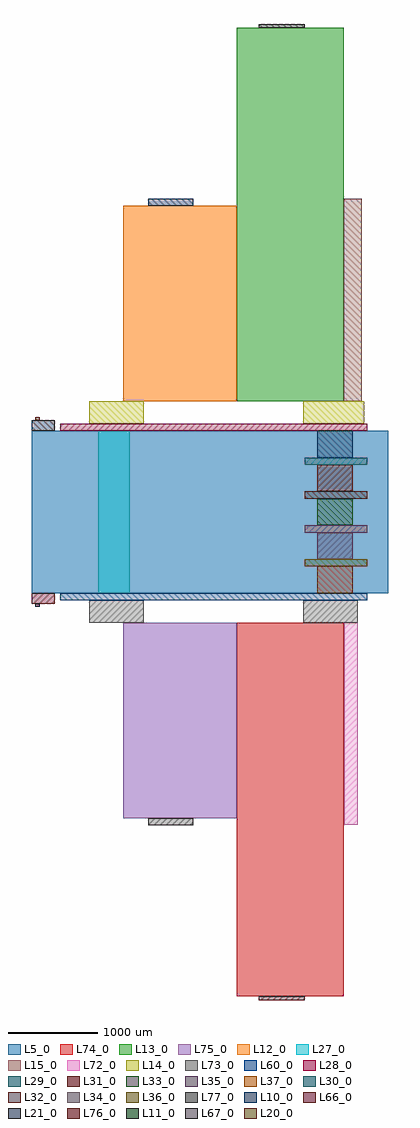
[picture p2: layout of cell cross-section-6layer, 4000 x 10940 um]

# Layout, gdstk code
import gdstk
lib = gdstk.Library(unit=1e-6, precision=1e-09)
def R(c, l, rs):  # rectangles x0, y0, x1, y1
    for r in rs: c.add(gdstk.rectangle(r[:2], r[2:], *l))
L5_0 = (5, 0)
L10_0 = (10, 0)
L11_0 = (11, 0)
L12_0 = (12, 0)
L13_0 = (13, 0)
L14_0 = (14, 0)
L15_0 = (15, 0)
L20_0 = (20, 0)
L21_0 = (21, 0)
L27_0 = (27, 0)
L28_0 = (28, 0)
L29_0 = (29, 0)
L30_0 = (30, 0)
L31_0 = (31, 0)
L32_0 = (32, 0)
L33_0 = (33, 0)
L34_0 = (34, 0)
L35_0 = (35, 0)
L36_0 = (36, 0)
L37_0 = (37, 0)
L60_0 = (60, 0)
L66_0 = (66, 0)
L67_0 = (67, 0)
L72_0 = (72, 0)
L73_0 = (73, 0)
L74_0 = (74, 0)
L75_0 = (75, 0)
L76_0 = (76, 0)
L77_0 = (77, 0)

cross_section_6layer = lib.new_cell('cross-section-6layer')
R(cross_section_6layer, L5_0, [(0,-1820,4000,0)])
R(cross_section_6layer, L10_0, [(1308,2520,1810,2600)])
R(cross_section_6layer, L11_0, [(2548.3,4520,3060,4560)])
R(cross_section_6layer, L12_0, [(1030.25,330,2300,2520)])
R(cross_section_6layer, L13_0, [(2300,330,3500,4520)])
R(cross_section_6layer, L14_0, [(647.1,80,1257.1,330), (3047.1,80,3727.1,330)])
R(cross_section_6layer, L15_0, [(3500,330,3700,2600)])
R(cross_section_6layer, L20_0, [(40,120,90,150)])
R(cross_section_6layer, L21_0, [(0,0,260,120)])
R(cross_section_6layer, L27_0, [(750,-1820,1100,0)])
R(cross_section_6layer, L28_0, [(320,0,3760,80)])
R(cross_section_6layer, L29_0, [(3200,-300,3600,0)])
R(cross_section_6layer, L30_0, [(3060,-380,3760,-300)])
R(cross_section_6layer, L31_0, [(3200,-680,3600,-380)])
R(cross_section_6layer, L32_0, [(3060,-760,3760,-680)])
R(cross_section_6layer, L33_0, [(3200,-1060,3600,-760)])
R(cross_section_6layer, L34_0, [(3060,-1140,3760,-1060)])
R(cross_section_6layer, L35_0, [(3200,-1440,3600,-1140)])
R(cross_section_6layer, L36_0, [(3060,-1520,3760,-1440)])
R(cross_section_6layer, L37_0, [(3200,-1820,3600,-1520)])
R(cross_section_6layer, L60_0, [(320,-1900,3760,-1820)])
R(cross_section_6layer, L66_0, [(0,-1940,260,-1820)])
R(cross_section_6layer, L67_0, [(40,-1970,90,-1940)])
R(cross_section_6layer, L72_0, [(3507.1,-4416.2,3657.1,-2150)])
R(cross_section_6layer, L73_0, [(647.1,-2150,1257.1,-1900), (3047.1,-2150,3657.1,-1900)])
R(cross_section_6layer, L74_0, [(2300,-6340,3500,-2150)])
R(cross_section_6layer, L75_0, [(1030.25,-4340,2300,-2150)])
R(cross_section_6layer, L76_0, [(2548.3,-6380,3060,-6340)])
R(cross_section_6layer, L77_0, [(1308,-4420,1810,-4340)])

lib.write_gds('cross-section-6layer.gds')
